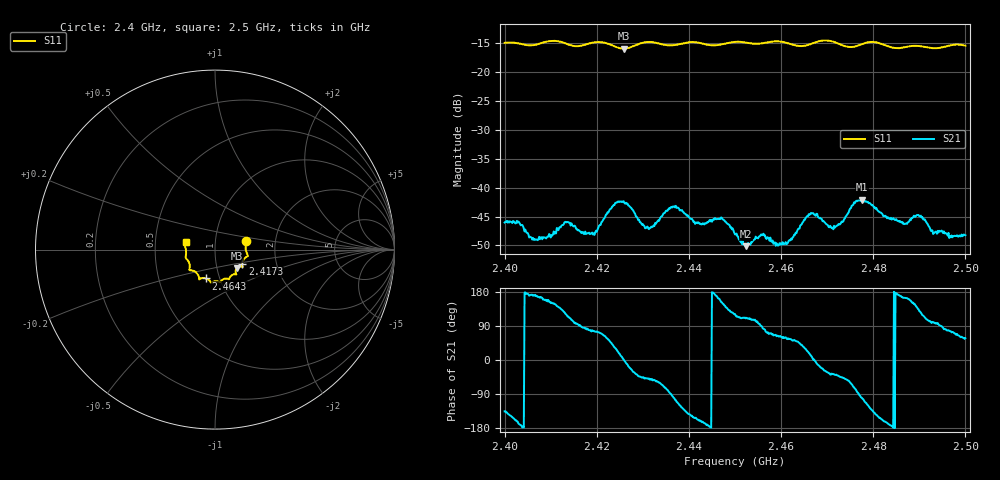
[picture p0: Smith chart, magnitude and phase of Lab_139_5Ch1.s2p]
# Hz S RI R 50
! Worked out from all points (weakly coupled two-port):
!   601 points, 2.4 GHz to 2.5 GHz, reference 50 ohm
!   highest |S21| = -42.09 dB at 2.4775 GHz (marker M1); lowest = -50.1 dB at 2.4523 GHz (marker M2)
!   lowest |S11| = -15.9 dB at 2.4258 GHz (marker M3), VSWR 1.38, Z = 62.3 - j13.2 ohm
!   |S11| at or under -10 dB: start of sweep to end of sweep
!   S12 and S22 are empty: the file has one direction only
!   S11 on the Smith chart (normalised r, x): 2.4 GHz: 1.41, +0.14; 2.4173 GHz: 1.34, -0.23; 2.4643 GHz: 0.86, -0.29; 2.5 GHz: 0.72, +0.06
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2.4e9  0.1728 0.0485  -0.00356 -0.0035  0 0  0 0
2.406833e9  0.173 -0.00828  -0.00347 0.000714  0 0  0 0
2.4135e9  0.1701 -0.0439  -0.00239 0.00444  0 0  0 0
2.416667e9  0.1526 -0.0742  0.000183 0.00404  0 0  0 0
2.417333e9  0.152 -0.0817  0.000361 0.00396  0 0  0 0
2.425833e9  0.1217 -0.1036  0.00762 0.000167  0 0  0 0
2.430833e9  0.1186 -0.1385  0.00303 -0.00339  0 0  0 0
2.433333e9  0.1128 -0.1373  0.00278 -0.00441  0 0  0 0
2.437e9  0.0873 -0.1482  -0.00179 -0.0065  0 0  0 0
2.447167e9  0.0391 -0.1697  -0.00482 0.00255  0 0  0 0
2.45e9  0.0288 -0.1808  -0.00204 0.00337  0 0  0 0
2.452333e9  0.0212 -0.1792  -0.00106 0.00293  0 0  0 0
2.456e9  -0.00671 -0.178  0.000406 0.00389  0 0  0 0
2.461e9  -0.0265 -0.1786  0.0017 0.00292  0 0  0 0
2.464333e9  -0.0499 -0.1608  0.00364 0.00307  0 0  0 0
2.466667e9  -0.0759 -0.1594  0.00592 0.000896  0 0  0 0
2.4715e9  -0.088 -0.1602  0.00369 -0.00287  0 0  0 0
2.4775e9  -0.1312 -0.1155  -0.00131 -0.00775  0 0  0 0
2.483333e9  -0.1407 -0.0899  -0.00536 -0.00101  0 0  0 0
2.489833e9  -0.1635 -0.0415  -0.00401 0.00419  0 0  0 0
2.493e9  -0.161 -0.014  -0.000687 0.00392  0 0  0 0
2.5e9  -0.1641 0.0429  0.00207 0.00327  0 0  0 0
